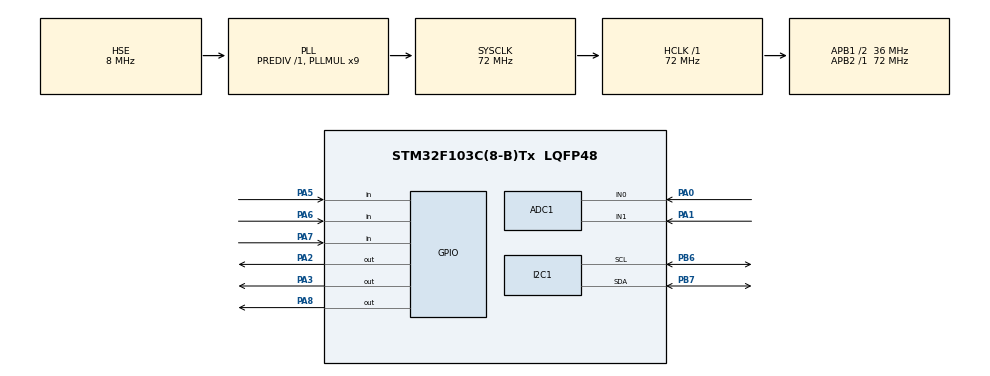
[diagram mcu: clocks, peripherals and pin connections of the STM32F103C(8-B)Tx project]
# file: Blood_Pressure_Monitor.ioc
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ADC1.Channel-0\#ChannelRegularConversion=ADC_CHANNEL_0
ADC1.ContinuousConvMode=DISABLE
ADC1.NbrOfConversion=1
ADC1.NbrOfConversionFlag=1
ADC1.Rank-0\#ChannelRegularConversion=1
ADC1.SamplingTime-0\#ChannelRegularConversion=ADC_SAMPLETIME_1CYCLE_5
ADC1.master=1
Mcu.Family=STM32F1
Mcu.Name=STM32F103C(8-B)Tx
Mcu.Package=LQFP48
NVIC.PriorityGroup=NVIC_PRIORITYGROUP_4
NVIC.TIM2_IRQn=true\:0\:0\:false\:false\:true\:true\:true\:true
PA0-WKUP.Signal=ADCx_IN0
PA1.Signal=ADCx_IN1
PA13.Mode=Serial_Wire
PA13.Signal=SYS_JTMS-SWDIO
PA14.Mode=Serial_Wire
PA14.Signal=SYS_JTCK-SWCLK
PA2.Signal=GPIO_Output
PA3.Signal=GPIO_Output
PA5.GPIO_PuPd=GPIO_PULLUP
PA5.Signal=GPIO_Input
PA6.GPIO_PuPd=GPIO_PULLUP
PA6.Signal=GPIO_Input
PA7.GPIO_PuPd=GPIO_PULLUP
PA7.Signal=GPIO_Input
PA8.Signal=GPIO_Output
PB6.Mode=I2C
PB6.Signal=I2C1_SCL
PB7.Mode=I2C
PB7.Signal=I2C1_SDA
PD0-OSC_IN.Mode=HSE-External-Oscillator
PD0-OSC_IN.Signal=RCC_OSC_IN
PD1-OSC_OUT.Mode=HSE-External-Oscillator
PD1-OSC_OUT.Signal=RCC_OSC_OUT
ProjectManager.HeapSize=0x200
ProjectManager.StackSize=0x400
ProjectManager.TargetToolchain=STM32CubeIDE
RCC.ADCPresc=RCC_ADCPCLK2_DIV6
RCC.AHBFreq_Value=72000000
RCC.APB1CLKDivider=RCC_HCLK_DIV2
RCC.APB1Freq_Value=36000000
RCC.APB1TimFreq_Value=72000000
RCC.APB2Freq_Value=72000000
RCC.APB2TimFreq_Value=72000000
RCC.HCLKFreq_Value=72000000
RCC.PLLMUL=RCC_PLL_MUL9
RCC.PLLSourceVirtual=RCC_PLLSOURCE_HSE
RCC.SYSCLKFreq_VALUE=72000000
RCC.SYSCLKSource=RCC_SYSCLKSOURCE_PLLCLK
RCC.USBFreq_Value=72000000
SH.ADCx_IN0.0=ADC1_IN0,IN0
SH.ADCx_IN1.0=ADC1_IN1,IN1
TIM2.Period=9
TIM2.Prescaler=7200-1
VP_TIM2_VS_ClockSourceINT.Mode=Internal
board=custom

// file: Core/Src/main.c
/* USER CODE BEGIN Header */
/**
  ******************************************************************************
  * @file           : main.c
  * @brief          : Main program body
  ******************************************************************************
  * @attention
  *
  * Copyright (c) 2024 STMicroelectronics.
  * All rights reserved.
  *
  * This software is licensed under terms that can be found in the LICENSE file
  * in the root directory of this software component.
  * If no LICENSE file comes with this software, it is provided AS-IS.
  *
  ******************************************************************************
  */
/* USER CODE END Header */
#include "main.h"

ADC_HandleTypeDef hadc1;

I2C_HandleTypeDef hi2c1;

TIM_HandleTypeDef htim2;

/* USER CODE BEGIN PV */
volatile uint8_t timing, timerate, timerun_dias, timecount, timedeflate, timedisplay;
/* USER CODE END PV */

void SystemClock_Config(void);
static void MX_GPIO_Init(void);
static void MX_I2C1_Init(void);
static void MX_ADC1_Init(void);
static void MX_TIM2_Init(void);

int main(void)
{
  /* USER CODE BEGIN 1 */
	//define states for Measure control
	//declare variable for motor controls
	uint8_t currentState = 0;
	uint8_t x1, x2 = 0;
	uint8_t timelcd;
	//declare variable for measuring and calculating value
	float DC_gain;
	uint8_t meas_state;
	float  maxpressure, pressure,accum_data, press_data;
	uint8_t count, stop_count;

	//ADC data variables
	float Vref;
	int data;
	float adc_data, former;

	//define counter
	uint8_t sys_count,count_average, countpulse;

	//declare rate measure variable
	float time_pulse,pulse_period, total_pulse_period, pulse_per_min;

	//declare systolic and diastolic variable
	float systolic, diastolic;

	//declare all the threshold values   (giá trị ngưỡng)
	float TH_sys, TH_rate, TH_dias;

  /* USER CODE END 1 */

  /* MCU Configuration--------------------------------------------------------*/

  /* Reset of all peripherals, Initializes the Flash interface and the Systick. */
  HAL_Init();

  /* Configure the system clock */
  SystemClock_Config();

  /* Initialize all configured peripherals */
  MX_GPIO_Init();
  MX_I2C1_Init();
  MX_ADC1_Init();
  MX_TIM2_Init();
  /* USER CODE BEGIN 2 */
  setup(&maxpressure, &meas_state, &former, &TH_sys, &TH_rate,&TH_dias, &time_pulse, &systolic, &diastolic, &total_pulse_period,
  		&pulse_per_min, &sys_count, &count_average,&countpulse, &Vref, &DC_gain, &accum_data, &press_data, &count);
  HAL_ADC_Start(&hadc1);
  HAL_TIM_Base_Start_IT(&htim2);
  /* USER CODE END 2 */

  /* Infinite loop */
  /* USER CODE BEGIN WHILE */
  while (1)
  {
	  switch(currentState)
	      {
	        case startState:
	        	start_state(&sys_count, &pressure, &accum_data, &press_data, &count, &stop_count, &meas_state,
	        		        			&former, &timerun_dias, &time_pulse, &timerate, &timing, &total_pulse_period, &systolic,
	        		        			&diastolic, &pulse_per_min, &count_average, &countpulse, TH_sys, &currentState, &timecount);
	         break;
	        case inflate1State:
	        	inflate1_state(&currentState);
	           break;
	        case inflate2State:
	           inflate2_state();
	           break;
	        case deflateState:
	           deflatestate();
	           break;
	        case displayState:
	           display_state();
	           break;
	        case resetState:
	           reset_state();
	           break;

	     }
    /* USER CODE END WHILE */

  }
}

void SystemClock_Config(void)
{
  RCC_OscInitTypeDef RCC_OscInitStruct = {0};
  RCC_ClkInitTypeDef RCC_ClkInitStruct = {0};
  RCC_PeriphCLKInitTypeDef PeriphClkInit = {0};

  /** Initializes the RCC Oscillators according to the specified parameters
  * in the RCC_OscInitTypeDef structure.
  */
  RCC_OscInitStruct.OscillatorType = RCC_OSCILLATORTYPE_HSE;
  RCC_OscInitStruct.HSEState = RCC_HSE_ON;
  RCC_OscInitStruct.HSEPredivValue = RCC_HSE_PREDIV_DIV1;
  RCC_OscInitStruct.HSIState = RCC_HSI_ON;
  RCC_OscInitStruct.PLL.PLLState = RCC_PLL_ON;
  RCC_OscInitStruct.PLL.PLLSource = RCC_PLLSOURCE_HSE;
  RCC_OscInitStruct.PLL.PLLMUL = RCC_PLL_MUL9;
  if (HAL_RCC_OscConfig(&RCC_OscInitStruct) != HAL_OK)
  {
    Error_Handler();
  }

  /** Initializes the CPU, AHB and APB buses clocks
  */
  RCC_ClkInitStruct.ClockType = RCC_CLOCKTYPE_HCLK|RCC_CLOCKTYPE_SYSCLK
                              |RCC_CLOCKTYPE_PCLK1|RCC_CLOCKTYPE_PCLK2;
  RCC_ClkInitStruct.SYSCLKSource = RCC_SYSCLKSOURCE_PLLCLK;
  RCC_ClkInitStruct.AHBCLKDivider = RCC_SYSCLK_DIV1;
  RCC_ClkInitStruct.APB1CLKDivider = RCC_HCLK_DIV2;
  RCC_ClkInitStruct.APB2CLKDivider = RCC_HCLK_DIV1;

  if (HAL_RCC_ClockConfig(&RCC_ClkInitStruct, FLASH_LATENCY_2) != HAL_OK)
  {
    Error_Handler();
  }
  PeriphClkInit.PeriphClockSelection = RCC_PERIPHCLK_ADC;
  PeriphClkInit.AdcClockSelection = RCC_ADCPCLK2_DIV6;
  if (HAL_RCCEx_PeriphCLKConfig(&PeriphClkInit) != HAL_OK)
  {
    Error_Handler();
  }
}

static void MX_ADC1_Init(void)
{

  ADC_ChannelConfTypeDef sConfig = {0};

  /** Common config
  */
  hadc1.Instance = ADC1;
  hadc1.Init.ScanConvMode = ADC_SCAN_DISABLE;
  hadc1.Init.ContinuousConvMode = DISABLE;
  hadc1.Init.DiscontinuousConvMode = DISABLE;
  hadc1.Init.ExternalTrigConv = ADC_SOFTWARE_START;
  hadc1.Init.DataAlign = ADC_DATAALIGN_RIGHT;
  hadc1.Init.NbrOfConversion = 1;
  if (HAL_ADC_Init(&hadc1) != HAL_OK)
  {
    Error_Handler();
  }

  /** Configure Regular Channel
  */
  sConfig.Channel = ADC_CHANNEL_0;
  sConfig.Rank = ADC_REGULAR_RANK_1;
  sConfig.SamplingTime = ADC_SAMPLETIME_1CYCLE_5;
  if (HAL_ADC_ConfigChannel(&hadc1, &sConfig) != HAL_OK)
  {
    Error_Handler();
  }

}

static void MX_I2C1_Init(void)
{

  hi2c1.Instance = I2C1;
  hi2c1.Init.ClockSpeed = 100000;
  hi2c1.Init.DutyCycle = I2C_DUTYCYCLE_2;
  hi2c1.Init.OwnAddress1 = 0;
  hi2c1.Init.AddressingMode = I2C_ADDRESSINGMODE_7BIT;
  hi2c1.Init.DualAddressMode = I2C_DUALADDRESS_DISABLE;
  hi2c1.Init.OwnAddress2 = 0;
  hi2c1.Init.GeneralCallMode = I2C_GENERALCALL_DISABLE;
  hi2c1.Init.NoStretchMode = I2C_NOSTRETCH_DISABLE;
  if (HAL_I2C_Init(&hi2c1) != HAL_OK)
  {
    Error_Handler();
  }

}

static void MX_TIM2_Init(void)
{

  TIM_ClockConfigTypeDef sClockSourceConfig = {0};
  TIM_MasterConfigTypeDef sMasterConfig = {0};

  htim2.Instance = TIM2;
  htim2.Init.Prescaler = 7200-1;
  htim2.Init.CounterMode = TIM_COUNTERMODE_UP;
  htim2.Init.Period = 9;
  htim2.Init.ClockDivision = TIM_CLOCKDIVISION_DIV1;
  htim2.Init.AutoReloadPreload = TIM_AUTORELOAD_PRELOAD_DISABLE;
  if (HAL_TIM_Base_Init(&htim2) != HAL_OK)
  {
    Error_Handler();
  }
  sClockSourceConfig.ClockSource = TIM_CLOCKSOURCE_INTERNAL;
  if (HAL_TIM_ConfigClockSource(&htim2, &sClockSourceConfig) != HAL_OK)
  {
    Error_Handler();
  }
  sMasterConfig.MasterOutputTrigger = TIM_TRGO_RESET;
  sMasterConfig.MasterSlaveMode = TIM_MASTERSLAVEMODE_DISABLE;
  if (HAL_TIMEx_MasterConfigSynchronization(&htim2, &sMasterConfig) != HAL_OK)
  {
    Error_Handler();
  }

}

static void MX_GPIO_Init(void)
{
  GPIO_InitTypeDef GPIO_InitStruct = {0};

  /* GPIO Ports Clock Enable */
  __HAL_RCC_GPIOD_CLK_ENABLE();
  __HAL_RCC_GPIOA_CLK_ENABLE();
  __HAL_RCC_GPIOB_CLK_ENABLE();

  /*Configure GPIO pin Output Level */
  HAL_GPIO_WritePin(GPIOA, GPIO_PIN_2|GPIO_PIN_3|GPIO_PIN_8, GPIO_PIN_RESET);

  /*Configure GPIO pins : PA2 PA3 PA8 */
  GPIO_InitStruct.Pin = GPIO_PIN_2|GPIO_PIN_3|GPIO_PIN_8;
  GPIO_InitStruct.Mode = GPIO_MODE_OUTPUT_PP;
  GPIO_InitStruct.Pull = GPIO_NOPULL;
  GPIO_InitStruct.Speed = GPIO_SPEED_FREQ_LOW;
  HAL_GPIO_Init(GPIOA, &GPIO_InitStruct);

  /*Configure GPIO pins : PA5 PA6 PA7 */
  GPIO_InitStruct.Pin = GPIO_PIN_5|GPIO_PIN_6|GPIO_PIN_7;
  GPIO_InitStruct.Mode = GPIO_MODE_INPUT;
  GPIO_InitStruct.Pull = GPIO_PULLUP;
  HAL_GPIO_Init(GPIOA, &GPIO_InitStruct);

}

/* USER CODE BEGIN 4 */
void HAL_TIM_PeriodElapsedCallback(TIM_HandleTypeDef *htim)
{
	if(HAL_GPIO_ReadPin(GPIOA, GPIO_PIN_7) == GPIO_PIN_RESET)
	{
		x1 = 1;
	}
	if(HAL_GPIO_ReadPin(GPIOA, GPIO_PIN_6) == GPIO_PIN_RESET)
	{
		x1 = 2;
	}
	if(HAL_GPIO_ReadPin(GPIOA, GPIO_PIN_5) == GPIO_PIN_RESET)
	{
		x2 = 1;
	}	//nút stop nhấn, x2 = 1
	timecount++;    // Tăng timecount mỗi lần chạy vòng lặp
	timedeflate++;  // Tăng timedeflate mỗi lần chạy vòng lặp

	// Giảm biến timing mỗi lần qua 1 chu kỳ 40ms
	if(timing > 0) {
		--timing;
	}

	// Cập nhật các biến th�?i gian cho các tác vụ khác

	if(timerate < 6000) {
		++timerate;  // Tăng timerate
	}

	if(timerun_dias < 2000) {
		++timerun_dias;  // Tăng timerun_dias
	}

	if(timedisplay < 2000) {
		++timedisplay;  // Tăng timedisplay
	}
}
/* USER CODE END 4 */

void Error_Handler(void)
{
  __disable_irq();
  while (1)
  {
  }
}
